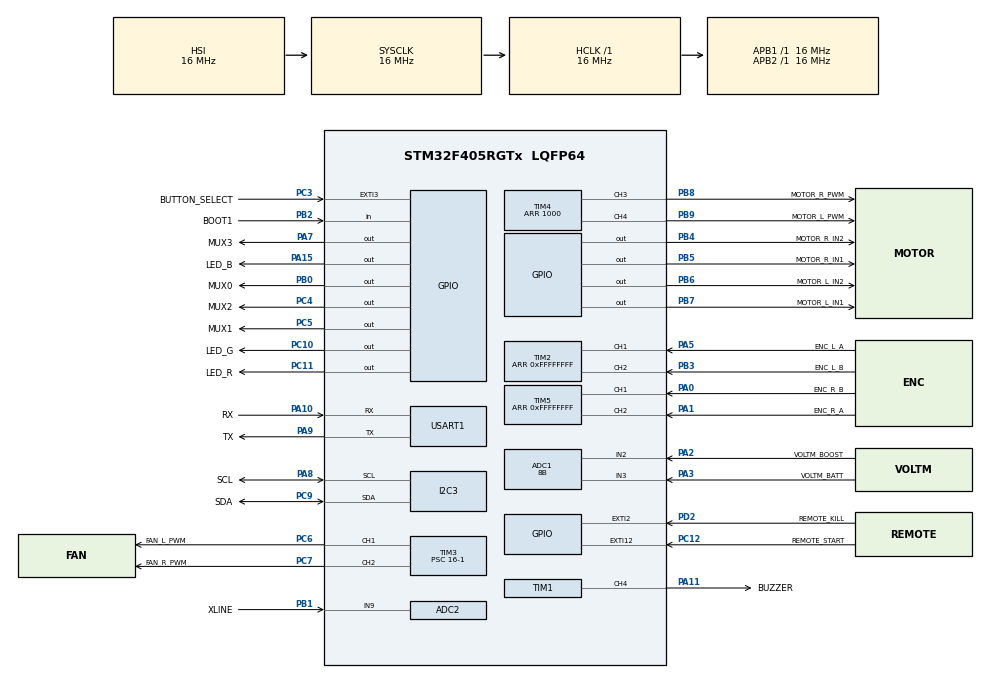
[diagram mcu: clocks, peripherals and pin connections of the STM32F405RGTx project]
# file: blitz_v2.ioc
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ADC1.Channel-0\#ChannelRegularConversion=ADC_CHANNEL_2
ADC1.Channel-1\#ChannelRegularConversion=ADC_CHANNEL_3
ADC1.ClockPrescaler=ADC_CLOCK_SYNC_PCLK_DIV8
ADC1.ContinuousConvMode=ENABLE
ADC1.DMAContinuousRequests=ENABLE
ADC1.NbrOfConversion=2
ADC1.NbrOfConversionFlag=1
ADC1.Rank-0\#ChannelRegularConversion=1
ADC1.Rank-1\#ChannelRegularConversion=2
ADC1.Resolution=ADC_RESOLUTION_8B
ADC1.SamplingTime-0\#ChannelRegularConversion=ADC_SAMPLETIME_112CYCLES
ADC1.SamplingTime-1\#ChannelRegularConversion=ADC_SAMPLETIME_112CYCLES
ADC1.master=1
ADC2.Channel-0\#ChannelRegularConversion=ADC_CHANNEL_9
ADC2.ClockPrescaler=ADC_CLOCK_SYNC_PCLK_DIV8
ADC2.NbrOfConversionFlag=1
ADC2.Rank-0\#ChannelRegularConversion=1
ADC2.Resolution=ADC_RESOLUTION_10B
ADC2.SamplingTime-0\#ChannelRegularConversion=ADC_SAMPLETIME_480CYCLES
ADC2.ScanConvMode=DISABLE
Dma.ADC1.0.Direction=DMA_PERIPH_TO_MEMORY
Dma.ADC1.0.FIFOMode=DMA_FIFOMODE_DISABLE
Dma.ADC1.0.Instance=DMA2_Stream0
Dma.ADC1.0.MemDataAlignment=DMA_MDATAALIGN_BYTE
Dma.ADC1.0.MemInc=DMA_MINC_ENABLE
Dma.ADC1.0.Mode=DMA_CIRCULAR
Dma.ADC1.0.PeriphDataAlignment=DMA_PDATAALIGN_BYTE
Dma.ADC1.0.PeriphInc=DMA_PINC_DISABLE
Dma.ADC1.0.Priority=DMA_PRIORITY_LOW
Dma.Request0=ADC1
I2C3.I2C_Mode=I2C_Fast
Mcu.Family=STM32F4
Mcu.Name=STM32F405RGTx
Mcu.Package=LQFP64
NVIC.DMA2_Stream0_IRQn=true\:0\:0\:false\:false\:true\:false\:true
NVIC.EXTI15_10_IRQn=true\:0\:0\:false\:false\:true\:true\:true
NVIC.EXTI2_IRQn=true\:0\:0\:false\:false\:true\:true\:true
NVIC.EXTI3_IRQn=true\:0\:0\:false\:false\:true\:true\:true
NVIC.PriorityGroup=NVIC_PRIORITYGROUP_4
NVIC.TIM8_TRG_COM_TIM14_IRQn=true\:0\:0\:false\:false\:true\:true\:true
PA0-WKUP.GPIO_Label=ENC_R_B
PA0-WKUP.Signal=S_TIM5_CH1
PA1.GPIO_Label=ENC_R_A
PA1.Signal=S_TIM5_CH2
PA10.GPIO_Label=RX
PA10.Mode=Asynchronous
PA10.Signal=USART1_RX
PA11.GPIO_Label=BUZZER
PA11.Signal=S_TIM1_CH4
PA13.GPIO_Label=SWDIO
PA13.Mode=Serial_Wire
PA13.Signal=SYS_JTMS-SWDIO
PA14.GPIO_Label=SWCLK
PA14.Mode=Serial_Wire
PA14.Signal=SYS_JTCK-SWCLK
PA15.GPIO_Label=LED_B
PA15.Signal=GPIO_Output
PA2.GPIO_Label=VOLTM_BOOST
PA2.Signal=ADCx_IN2
PA3.GPIO_Label=VOLTM_BATT
PA3.Signal=ADCx_IN3
PA5.GPIO_Label=ENC_L_A
PA5.Signal=S_TIM2_CH1_ETR
PA7.GPIO_Label=MUX3
PA7.Signal=GPIO_Output
PA8.GPIO_Label=SCL
PA8.Mode=I2C
PA8.Signal=I2C3_SCL
PA9.GPIO_Label=TX
PA9.Mode=Asynchronous
PA9.Signal=USART1_TX
PB0.GPIO_Label=MUX0
PB0.Signal=GPIO_Output
PB1.GPIO_Label=XLINE
PB1.Signal=ADCx_IN9
PB2.GPIO_Label=BOOT1
PB2.Signal=GPIO_Input
PB3.GPIO_Label=ENC_L_B
PB3.Signal=S_TIM2_CH2
PB4.GPIO_Label=MOTOR_R_IN2
PB4.Signal=GPIO_Output
PB5.GPIO_Label=MOTOR_R_IN1
PB5.Signal=GPIO_Output
PB6.GPIO_Label=MOTOR_L_IN2
PB6.Signal=GPIO_Output
PB7.GPIO_Label=MOTOR_L_IN1
PB7.Signal=GPIO_Output
PB8.GPIO_Label=MOTOR_R_PWM
PB8.Signal=S_TIM4_CH3
PB9.GPIO_Label=MOTOR_L_PWM
PB9.Signal=S_TIM4_CH4
PC10.GPIO_Label=LED_G
PC10.Signal=GPIO_Output
PC11.GPIO_Label=LED_R
PC11.Signal=GPIO_Output
PC12.GPIO_Label=REMOTE_START
PC12.GPIO_ModeDefaultEXTI=GPIO_MODE_IT_RISING
PC12.Signal=GPXTI12
PC3.GPIO_Label=BUTTON_SELECT
PC3.GPIO_ModeDefaultEXTI=GPIO_MODE_IT_FALLING
PC3.Signal=GPXTI3
PC4.GPIO_Label=MUX2
PC4.Signal=GPIO_Output
PC5.GPIO_Label=MUX1
PC5.Signal=GPIO_Output
PC6.GPIO_Label=FAN_L_PWM
PC6.Signal=S_TIM3_CH1
PC7.GPIO_Label=FAN_R_PWM
PC7.Signal=S_TIM3_CH2
PC9.GPIO_Label=SDA
PC9.Mode=I2C
PC9.Signal=I2C3_SDA
PD2.GPIO_Label=REMOTE_KILL
PD2.GPIO_ModeDefaultEXTI=GPIO_MODE_IT_FALLING
PD2.Signal=GPXTI2
ProjectManager.HeapSize=0x200
ProjectManager.StackSize=0x400
ProjectManager.TargetToolchain=STM32CubeIDE
RCC.AHBFreq_Value=16000000
RCC.APB1Freq_Value=16000000
RCC.APB2Freq_Value=16000000
RCC.CortexFreq_Value=16000000
RCC.HSE_VALUE=25000000
RCC.HSI_VALUE=16000000
RCC.LSE_VALUE=32768
RCC.SYSCLKFreq_VALUE=16000000
RCC.VCOOutputFreq_Value=192000000
SH.ADCx_IN2.0=ADC1_IN2,IN2
SH.ADCx_IN3.0=ADC1_IN3,IN3
SH.ADCx_IN9.0=ADC2_IN9,IN9
SH.S_TIM1_CH4.0=TIM1_CH4,PWM Generation4 CH4
SH.S_TIM2_CH1_ETR.0=TIM2_CH1,Encoder_Interface
SH.S_TIM2_CH2.0=TIM2_CH2,Encoder_Interface
SH.S_TIM3_CH1.0=TIM3_CH1,PWM Generation1 CH1
SH.S_TIM3_CH2.0=TIM3_CH2,PWM Generation2 CH2
SH.S_TIM4_CH3.0=TIM4_CH3,PWM Generation3 CH3
SH.S_TIM4_CH4.0=TIM4_CH4,PWM Generation4 CH4
SH.S_TIM5_CH1.0=TIM5_CH1,Encoder_Interface
SH.S_TIM5_CH2.0=TIM5_CH2,Encoder_Interface
TIM1.Channel-PWM\ Generation4\ CH4=TIM_CHANNEL_4
TIM1.Period=1000
TIM1.Prescaler=4-1
TIM14.Period=50
TIM14.Prescaler=16000
TIM2.EncoderMode=TIM_ENCODERMODE_TI12
TIM2.IC1Polarity=TIM_ICPOLARITY_RISING
TIM2.IC2Polarity=TIM_ICPOLARITY_FALLING
TIM2.Period=0xFFFFFFFF
TIM3.Channel-PWM\ Generation1\ CH1=TIM_CHANNEL_1
TIM3.Channel-PWM\ Generation2\ CH2=TIM_CHANNEL_2
TIM3.Period=20000
TIM3.Prescaler=16-1
TIM4.Channel-PWM\ Generation3\ CH3=TIM_CHANNEL_3
TIM4.Channel-PWM\ Generation4\ CH4=TIM_CHANNEL_4
TIM4.Period=1000
TIM5.IC2Polarity=TIM_ICPOLARITY_FALLING
TIM5.Period=0xFFFFFFFF
USART1.VirtualMode=VM_ASYNC
VP_TIM14_VS_ClockSourceINT.Mode=Enable_Timer
board=custom

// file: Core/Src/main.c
/* USER CODE BEGIN Header */
/**
  ******************************************************************************
  * @file           : main.c
  * @brief          : Main program body
  ******************************************************************************
  * @attention
  *
  * <h2><center>&copy; Copyright (c) 2020 STMicroelectronics.
  * All rights reserved.</center></h2>
  *
  * This software component is licensed by ST under BSD 3-Clause license,
  * the "License"; You may not use this file except in compliance with the
  * License. You may obtain a copy of the License at:
  *                        opensource.org/licenses/BSD-3-Clause
  *
  ******************************************************************************
  */
/* USER CODE END Header */

#include "main.h"

/* USER CODE BEGIN Includes */
#include <stdio.h>
#include <string.h>
//#include "eeprom.h"
#include <user/voltmeter.h>
#include "user/buzzer.h"
#include "user/oled.h"
#include "user/motor.h"
#include "user/fan.h"
#include "user/xline.h"
#include "user/control.h"

/* USER CODE END Includes */

ADC_HandleTypeDef hadc1;
ADC_HandleTypeDef hadc2;
DMA_HandleTypeDef hdma_adc1;

I2C_HandleTypeDef hi2c3;

TIM_HandleTypeDef htim1;
TIM_HandleTypeDef htim2;
TIM_HandleTypeDef htim3;
TIM_HandleTypeDef htim4;
TIM_HandleTypeDef htim5;
TIM_HandleTypeDef htim14;

UART_HandleTypeDef huart1;

// EEPROM memory
// The addresses that are assigned to a specific variable. It is predefined and cannot be changed.
/*uint16_t VirtAddVarTab[NB_OF_VAR] = {0X1110, 0x1111, 0x1112, 0x1113, 0x1114, 0x1115, 0x1116, 0x1117, 0x1118, 0x1119, 0x111A, 0x111B, 0x111C, 0x111D, 0x111E, 0x111F,
									 0x1120, 0x1121, 0x1122, 0x1123, 0x1124, 0x1125, 0x1126, 0x1127, 0x1128, 0x1129, 0x112A, 0x112B, 0x112C, 0x112D, 0x112E, 0x112F,
									 0X1130, 0x1131, 0x1132, 0x1133, 0x1134, 0x1135, 0x1136, 0x1137, 0x1138, 0x1139, 0x113A, 0x113B, 0x113C, 0x113D, 0x113E, 0x113F,
									 0x1140, 0x1141, 0x1142, 0x1143, 0x1144, 0x1145, 0x1146, 0x1147, 0x1148, 0x1149, 0x114A, 0x114B, 0x114C, 0x114D, 0x114E, 0x114F};
uint16_t VarDataTab[NB_OF_VAR] = {0, 0, 0, 0, 0, 0, 0, 0, 0, 0, 0, 0, 0, 0, 0, 0, 0, 0, 0, 0, 0, 0, 0, 0, 0, 0, 0, 0, 0, 0, 0, 0,
								  0, 0, 0, 0, 0, 0, 0, 0, 0, 0, 0, 0, 0, 0, 0, 0, 0, 0, 0, 0, 0, 0, 0, 0, 0, 0, 0, 0, 0, 0, 0, 0};
uint16_t VarValue = 0;
*/

void SystemClock_Config(void);
static void MX_GPIO_Init(void);
static void MX_DMA_Init(void);
static void MX_I2C3_Init(void);
static void MX_TIM1_Init(void);
static void MX_USART1_UART_Init(void);
static void MX_TIM4_Init(void);
static void MX_TIM3_Init(void);
static void MX_ADC1_Init(void);
static void MX_TIM2_Init(void);
static void MX_TIM5_Init(void);
static void MX_TIM14_Init(void);
static void MX_ADC2_Init(void);
/* USER CODE BEGIN PFP */
#ifdef __GNUC__
	#define PUTCHAR_PROTOTYPE int __io_putchar(int ch)
#else
	#define PUTCHAR_PROTOTYPE int fputc(int ch, FILE *f)
#endif
PUTCHAR_PROTOTYPE{
	HAL_UART_Transmit(&huart1, (uint8_t *) &ch, 1, 0xFFFF);
	return ch;
}

void tests_run(){
	HAL_GPIO_WritePin(LED_R_GPIO_Port, LED_R_Pin, GPIO_PIN_RESET);
	HAL_GPIO_WritePin(LED_G_GPIO_Port, LED_G_Pin, GPIO_PIN_RESET);
	HAL_GPIO_WritePin(LED_B_GPIO_Port, LED_B_Pin, GPIO_PIN_RESET);
	printf("\r\n========== RUN TESTS ==========\r\n");
	printf("\t- Buzzer\r\n");
	test_buzzer();
	HAL_Delay(2000);
	printf("\t- Motors\r\n");
	test_motors();
	HAL_Delay(2000);
	printf("\t- Fans\r\n");
	test_fan();
	HAL_Delay(2000);
}

/* USER CODE END PFP */

/* USER CODE BEGIN 0 */

// Test variables during development

/* USER CODE END 0 */

int main(void)
{

  /* MCU Configuration--------------------------------------------------------*/

  /* Reset of all peripherals, Initializes the Flash interface and the Systick. */
  HAL_Init();

  /* Configure the system clock */
  SystemClock_Config();

  /* Initialize all configured peripherals */
  MX_GPIO_Init();
  MX_DMA_Init();
  MX_I2C3_Init();
  MX_TIM1_Init();
  MX_USART1_UART_Init();
  MX_TIM4_Init();
  MX_TIM3_Init();
  MX_ADC1_Init();
  MX_TIM2_Init();
  MX_TIM5_Init();
  MX_TIM14_Init();
  MX_ADC2_Init();
  /* USER CODE BEGIN 2 */
  printf("========== Blitz V2 ==========\r\n");
  printf("Created by Oskar & Isak\r\n");

  printf("\r\n========== Initializing peripherals ==========\r\n");
  printf("\t- Buzzer\r\n");
  init_buzzer();
  //Startup beep
  HAL_GPIO_TogglePin(LED_R_GPIO_Port, LED_R_Pin);
	tone(523,200);
	HAL_GPIO_TogglePin(LED_R_GPIO_Port, LED_R_Pin);

	HAL_GPIO_TogglePin(LED_G_GPIO_Port, LED_G_Pin);
	tone(659,200);
	HAL_GPIO_TogglePin(LED_G_GPIO_Port, LED_G_Pin);

	HAL_GPIO_TogglePin(LED_B_GPIO_Port, LED_B_Pin);
	tone(784,200);
	HAL_GPIO_TogglePin(LED_B_GPIO_Port, LED_B_Pin);
	HAL_Delay(500);

  printf("\t- OLED\r\n");
  init_oled(); // Draws CASE LOGO for now
  //HAL_Delay(500);
  printf("\t- Motors\r\n");
  init_motors();
  //HAL_Delay(500);
  printf("\t- Fans\r\n");
  init_fans();
 // HAL_Delay(3000); //Wait for fans to beep
  printf("\t- Voltage meter\r\n");
  init_voltmeter();
  printf("\t- XLINE\r\n");
	init_xline();

  // Run all tests
  //tests_run();

  printf("\r\n========== Starting Blitz ==========\r\n");

  /* USER CODE END 2 */

  /* Infinite loop */
  while (1)
  {

    /* USER CODE BEGIN 3 */
  	oled_update();
  	HAL_GPIO_TogglePin(LED_B_GPIO_Port, LED_B_Pin);
  	HAL_Delay(10);

  	control_loop();
  }
  /* USER CODE END 3 */
}

void SystemClock_Config(void)
{
  RCC_OscInitTypeDef RCC_OscInitStruct = {0};
  RCC_ClkInitTypeDef RCC_ClkInitStruct = {0};

  /** Configure the main internal regulator output voltage
  */
  __HAL_RCC_PWR_CLK_ENABLE();
  __HAL_PWR_VOLTAGESCALING_CONFIG(PWR_REGULATOR_VOLTAGE_SCALE1);
  /** Initializes the CPU, AHB and APB busses clocks
  */
  RCC_OscInitStruct.OscillatorType = RCC_OSCILLATORTYPE_HSI;
  RCC_OscInitStruct.HSIState = RCC_HSI_ON;
  RCC_OscInitStruct.HSICalibrationValue = RCC_HSICALIBRATION_DEFAULT;
  RCC_OscInitStruct.PLL.PLLState = RCC_PLL_NONE;
  if (HAL_RCC_OscConfig(&RCC_OscInitStruct) != HAL_OK)
  {
    Error_Handler();
  }
  /** Initializes the CPU, AHB and APB busses clocks
  */
  RCC_ClkInitStruct.ClockType = RCC_CLOCKTYPE_HCLK|RCC_CLOCKTYPE_SYSCLK
                              |RCC_CLOCKTYPE_PCLK1|RCC_CLOCKTYPE_PCLK2;
  RCC_ClkInitStruct.SYSCLKSource = RCC_SYSCLKSOURCE_HSI;
  RCC_ClkInitStruct.AHBCLKDivider = RCC_SYSCLK_DIV1;
  RCC_ClkInitStruct.APB1CLKDivider = RCC_HCLK_DIV1;
  RCC_ClkInitStruct.APB2CLKDivider = RCC_HCLK_DIV1;

  if (HAL_RCC_ClockConfig(&RCC_ClkInitStruct, FLASH_LATENCY_0) != HAL_OK)
  {
    Error_Handler();
  }
}

static void MX_ADC1_Init(void)
{

  ADC_ChannelConfTypeDef sConfig = {0};

  /** Configure the global features of the ADC (Clock, Resolution, Data Alignment and number of conversion)
  */
  hadc1.Instance = ADC1;
  hadc1.Init.ClockPrescaler = ADC_CLOCK_SYNC_PCLK_DIV8;
  hadc1.Init.Resolution = ADC_RESOLUTION_8B;
  hadc1.Init.ScanConvMode = ENABLE;
  hadc1.Init.ContinuousConvMode = ENABLE;
  hadc1.Init.DiscontinuousConvMode = DISABLE;
  hadc1.Init.ExternalTrigConvEdge = ADC_EXTERNALTRIGCONVEDGE_NONE;
  hadc1.Init.ExternalTrigConv = ADC_SOFTWARE_START;
  hadc1.Init.DataAlign = ADC_DATAALIGN_RIGHT;
  hadc1.Init.NbrOfConversion = 2;
  hadc1.Init.DMAContinuousRequests = ENABLE;
  hadc1.Init.EOCSelection = ADC_EOC_SINGLE_CONV;
  if (HAL_ADC_Init(&hadc1) != HAL_OK)
  {
    Error_Handler();
  }
  /** Configure for the selected ADC regular channel its corresponding rank in the sequencer and its sample time.
  */
  sConfig.Channel = ADC_CHANNEL_2;
  sConfig.Rank = 1;
  sConfig.SamplingTime = ADC_SAMPLETIME_112CYCLES;
  if (HAL_ADC_ConfigChannel(&hadc1, &sConfig) != HAL_OK)
  {
    Error_Handler();
  }
  /** Configure for the selected ADC regular channel its corresponding rank in the sequencer and its sample time.
  */
  sConfig.Channel = ADC_CHANNEL_3;
  sConfig.Rank = 2;
  if (HAL_ADC_ConfigChannel(&hadc1, &sConfig) != HAL_OK)
  {
    Error_Handler();
  }

}

static void MX_ADC2_Init(void)
{

  ADC_ChannelConfTypeDef sConfig = {0};

  /** Configure the global features of the ADC (Clock, Resolution, Data Alignment and number of conversion)
  */
  hadc2.Instance = ADC2;
  hadc2.Init.ClockPrescaler = ADC_CLOCK_SYNC_PCLK_DIV8;
  hadc2.Init.Resolution = ADC_RESOLUTION_10B;
  hadc2.Init.ScanConvMode = DISABLE;
  hadc2.Init.ContinuousConvMode = DISABLE;
  hadc2.Init.DiscontinuousConvMode = DISABLE;
  hadc2.Init.ExternalTrigConvEdge = ADC_EXTERNALTRIGCONVEDGE_NONE;
  hadc2.Init.ExternalTrigConv = ADC_SOFTWARE_START;
  hadc2.Init.DataAlign = ADC_DATAALIGN_RIGHT;
  hadc2.Init.NbrOfConversion = 1;
  hadc2.Init.DMAContinuousRequests = DISABLE;
  hadc2.Init.EOCSelection = ADC_EOC_SINGLE_CONV;
  if (HAL_ADC_Init(&hadc2) != HAL_OK)
  {
    Error_Handler();
  }
  /** Configure for the selected ADC regular channel its corresponding rank in the sequencer and its sample time.
  */
  sConfig.Channel = ADC_CHANNEL_9;
  sConfig.Rank = 1;
  sConfig.SamplingTime = ADC_SAMPLETIME_480CYCLES;
  if (HAL_ADC_ConfigChannel(&hadc2, &sConfig) != HAL_OK)
  {
    Error_Handler();
  }

}

static void MX_I2C3_Init(void)
{

  hi2c3.Instance = I2C3;
  hi2c3.Init.ClockSpeed = 400000;
  hi2c3.Init.DutyCycle = I2C_DUTYCYCLE_2;
  hi2c3.Init.OwnAddress1 = 0;
  hi2c3.Init.AddressingMode = I2C_ADDRESSINGMODE_7BIT;
  hi2c3.Init.DualAddressMode = I2C_DUALADDRESS_DISABLE;
  hi2c3.Init.OwnAddress2 = 0;
  hi2c3.Init.GeneralCallMode = I2C_GENERALCALL_DISABLE;
  hi2c3.Init.NoStretchMode = I2C_NOSTRETCH_DISABLE;
  if (HAL_I2C_Init(&hi2c3) != HAL_OK)
  {
    Error_Handler();
  }

}

static void MX_TIM1_Init(void)
{

  TIM_MasterConfigTypeDef sMasterConfig = {0};
  TIM_OC_InitTypeDef sConfigOC = {0};
  TIM_BreakDeadTimeConfigTypeDef sBreakDeadTimeConfig = {0};

  htim1.Instance = TIM1;
  htim1.Init.Prescaler = 4-1;
  htim1.Init.CounterMode = TIM_COUNTERMODE_UP;
  htim1.Init.Period = 1000;
  htim1.Init.ClockDivision = TIM_CLOCKDIVISION_DIV1;
  htim1.Init.RepetitionCounter = 0;
  htim1.Init.AutoReloadPreload = TIM_AUTORELOAD_PRELOAD_DISABLE;
  if (HAL_TIM_PWM_Init(&htim1) != HAL_OK)
  {
    Error_Handler();
  }
  sMasterConfig.MasterOutputTrigger = TIM_TRGO_RESET;
  sMasterConfig.MasterSlaveMode = TIM_MASTERSLAVEMODE_DISABLE;
  if (HAL_TIMEx_MasterConfigSynchronization(&htim1, &sMasterConfig) != HAL_OK)
  {
    Error_Handler();
  }
  sConfigOC.OCMode = TIM_OCMODE_PWM1;
  sConfigOC.Pulse = 0;
  sConfigOC.OCPolarity = TIM_OCPOLARITY_HIGH;
  sConfigOC.OCFastMode = TIM_OCFAST_DISABLE;
  sConfigOC.OCIdleState = TIM_OCIDLESTATE_RESET;
  sConfigOC.OCNIdleState = TIM_OCNIDLESTATE_RESET;
  if (HAL_TIM_PWM_ConfigChannel(&htim1, &sConfigOC, TIM_CHANNEL_4) != HAL_OK)
  {
    Error_Handler();
  }
  sBreakDeadTimeConfig.OffStateRunMode = TIM_OSSR_DISABLE;
  sBreakDeadTimeConfig.OffStateIDLEMode = TIM_OSSI_DISABLE;
  sBreakDeadTimeConfig.LockLevel = TIM_LOCKLEVEL_OFF;
  sBreakDeadTimeConfig.DeadTime = 0;
  sBreakDeadTimeConfig.BreakState = TIM_BREAK_DISABLE;
  sBreakDeadTimeConfig.BreakPolarity = TIM_BREAKPOLARITY_HIGH;
  sBreakDeadTimeConfig.AutomaticOutput = TIM_AUTOMATICOUTPUT_DISABLE;
  if (HAL_TIMEx_ConfigBreakDeadTime(&htim1, &sBreakDeadTimeConfig) != HAL_OK)
  {
    Error_Handler();
  }
  HAL_TIM_MspPostInit(&htim1);

}

static void MX_TIM2_Init(void)
{

  TIM_Encoder_InitTypeDef sConfig = {0};
  TIM_MasterConfigTypeDef sMasterConfig = {0};

  htim2.Instance = TIM2;
  htim2.Init.Prescaler = 0;
  htim2.Init.CounterMode = TIM_COUNTERMODE_UP;
  htim2.Init.Period = 0xFFFFFFFF;
  htim2.Init.ClockDivision = TIM_CLOCKDIVISION_DIV1;
  htim2.Init.AutoReloadPreload = TIM_AUTORELOAD_PRELOAD_DISABLE;
  sConfig.EncoderMode = TIM_ENCODERMODE_TI12;
  sConfig.IC1Polarity = TIM_ICPOLARITY_RISING;
  sConfig.IC1Selection = TIM_ICSELECTION_DIRECTTI;
  sConfig.IC1Prescaler = TIM_ICPSC_DIV1;
  sConfig.IC1Filter = 0;
  sConfig.IC2Polarity = TIM_ICPOLARITY_FALLING;
  sConfig.IC2Selection = TIM_ICSELECTION_DIRECTTI;
  sConfig.IC2Prescaler = TIM_ICPSC_DIV1;
  sConfig.IC2Filter = 0;
  if (HAL_TIM_Encoder_Init(&htim2, &sConfig) != HAL_OK)
  {
    Error_Handler();
  }
  sMasterConfig.MasterOutputTrigger = TIM_TRGO_RESET;
  sMasterConfig.MasterSlaveMode = TIM_MASTERSLAVEMODE_DISABLE;
  if (HAL_TIMEx_MasterConfigSynchronization(&htim2, &sMasterConfig) != HAL_OK)
  {
    Error_Handler();
  }

}

static void MX_TIM3_Init(void)
{

  TIM_MasterConfigTypeDef sMasterConfig = {0};
  TIM_OC_InitTypeDef sConfigOC = {0};

  htim3.Instance = TIM3;
  htim3.Init.Prescaler = 16-1;
  htim3.Init.CounterMode = TIM_COUNTERMODE_UP;
  htim3.Init.Period = 20000;
  htim3.Init.ClockDivision = TIM_CLOCKDIVISION_DIV1;
  htim3.Init.AutoReloadPreload = TIM_AUTORELOAD_PRELOAD_DISABLE;
  if (HAL_TIM_PWM_Init(&htim3) != HAL_OK)
  {
    Error_Handler();
  }
  sMasterConfig.MasterOutputTrigger = TIM_TRGO_RESET;
  sMasterConfig.MasterSlaveMode = TIM_MASTERSLAVEMODE_DISABLE;
  if (HAL_TIMEx_MasterConfigSynchronization(&htim3, &sMasterConfig) != HAL_OK)
  {
    Error_Handler();
  }
  sConfigOC.OCMode = TIM_OCMODE_PWM1;
  sConfigOC.Pulse = 0;
  sConfigOC.OCPolarity = TIM_OCPOLARITY_HIGH;
  sConfigOC.OCFastMode = TIM_OCFAST_DISABLE;
  if (HAL_TIM_PWM_ConfigChannel(&htim3, &sConfigOC, TIM_CHANNEL_1) != HAL_OK)
  {
    Error_Handler();
  }
  if (HAL_TIM_PWM_ConfigChannel(&htim3, &sConfigOC, TIM_CHANNEL_2) != HAL_OK)
  {
    Error_Handler();
  }
  HAL_TIM_MspPostInit(&htim3);

}

static void MX_TIM4_Init(void)
{

  TIM_MasterConfigTypeDef sMasterConfig = {0};
  TIM_OC_InitTypeDef sConfigOC = {0};

  htim4.Instance = TIM4;
  htim4.Init.Prescaler = 0;
  htim4.Init.CounterMode = TIM_COUNTERMODE_UP;
  htim4.Init.Period = 1000;
  htim4.Init.ClockDivision = TIM_CLOCKDIVISION_DIV1;
  htim4.Init.AutoReloadPreload = TIM_AUTORELOAD_PRELOAD_DISABLE;
  if (HAL_TIM_PWM_Init(&htim4) != HAL_OK)
  {
    Error_Handler();
  }
  sMasterConfig.MasterOutputTrigger = TIM_TRGO_RESET;
  sMasterConfig.MasterSlaveMode = TIM_MASTERSLAVEMODE_DISABLE;
  if (HAL_TIMEx_MasterConfigSynchronization(&htim4, &sMasterConfig) != HAL_OK)
  {
    Error_Handler();
  }
  sConfigOC.OCMode = TIM_OCMODE_PWM1;
  sConfigOC.Pulse = 0;
  sConfigOC.OCPolarity = TIM_OCPOLARITY_HIGH;
  sConfigOC.OCFastMode = TIM_OCFAST_DISABLE;
  if (HAL_TIM_PWM_ConfigChannel(&htim4, &sConfigOC, TIM_CHANNEL_3) != HAL_OK)
  {
    Error_Handler();
  }
  if (HAL_TIM_PWM_ConfigChannel(&htim4, &sConfigOC, TIM_CHANNEL_4) != HAL_OK)
  {
    Error_Handler();
  }
  HAL_TIM_MspPostInit(&htim4);

}

static void MX_TIM5_Init(void)
{

  TIM_Encoder_InitTypeDef sConfig = {0};
  TIM_MasterConfigTypeDef sMasterConfig = {0};

  htim5.Instance = TIM5;
  htim5.Init.Prescaler = 0;
  htim5.Init.CounterMode = TIM_COUNTERMODE_UP;
  htim5.Init.Period = 0xFFFFFFFF;
  htim5.Init.ClockDivision = TIM_CLOCKDIVISION_DIV1;
  htim5.Init.AutoReloadPreload = TIM_AUTORELOAD_PRELOAD_DISABLE;
  sConfig.EncoderMode = TIM_ENCODERMODE_TI1;
  sConfig.IC1Polarity = TIM_ICPOLARITY_RISING;
  sConfig.IC1Selection = TIM_ICSELECTION_DIRECTTI;
  sConfig.IC1Prescaler = TIM_ICPSC_DIV1;
  sConfig.IC1Filter = 0;
  sConfig.IC2Polarity = TIM_ICPOLARITY_FALLING;
  sConfig.IC2Selection = TIM_ICSELECTION_DIRECTTI;
  sConfig.IC2Prescaler = TIM_ICPSC_DIV1;
  sConfig.IC2Filter = 0;
  if (HAL_TIM_Encoder_Init(&htim5, &sConfig) != HAL_OK)
  {
    Error_Handler();
  }
  sMasterConfig.MasterOutputTrigger = TIM_TRGO_RESET;
  sMasterConfig.MasterSlaveMode = TIM_MASTERSLAVEMODE_DISABLE;
  if (HAL_TIMEx_MasterConfigSynchronization(&htim5, &sMasterConfig) != HAL_OK)
  {
    Error_Handler();
  }

}

static void MX_TIM14_Init(void)
{

  htim14.Instance = TIM14;
  htim14.Init.Prescaler = 16000;
  htim14.Init.CounterMode = TIM_COUNTERMODE_UP;
  htim14.Init.Period = 50;
  htim14.Init.ClockDivision = TIM_CLOCKDIVISION_DIV1;
  htim14.Init.AutoReloadPreload = TIM_AUTORELOAD_PRELOAD_DISABLE;
  if (HAL_TIM_Base_Init(&htim14) != HAL_OK)
  {
    Error_Handler();
  }

}

static void MX_USART1_UART_Init(void)
{

  huart1.Instance = USART1;
  huart1.Init.BaudRate = 115200;
  huart1.Init.WordLength = UART_WORDLENGTH_8B;
  huart1.Init.StopBits = UART_STOPBITS_1;
  huart1.Init.Parity = UART_PARITY_NONE;
  huart1.Init.Mode = UART_MODE_TX_RX;
  huart1.Init.HwFlowCtl = UART_HWCONTROL_NONE;
  huart1.Init.OverSampling = UART_OVERSAMPLING_16;
  if (HAL_UART_Init(&huart1) != HAL_OK)
  {
    Error_Handler();
  }

}

static void MX_DMA_Init(void)
{

  /* DMA controller clock enable */
  __HAL_RCC_DMA2_CLK_ENABLE();

  /* DMA interrupt init */
  /* DMA2_Stream0_IRQn interrupt configuration */
  HAL_NVIC_SetPriority(DMA2_Stream0_IRQn, 0, 0);
  HAL_NVIC_EnableIRQ(DMA2_Stream0_IRQn);

}

static void MX_GPIO_Init(void)
{
  GPIO_InitTypeDef GPIO_InitStruct = {0};

  /* GPIO Ports Clock Enable */
  __HAL_RCC_GPIOC_CLK_ENABLE();
  __HAL_RCC_GPIOA_CLK_ENABLE();
  __HAL_RCC_GPIOB_CLK_ENABLE();
  __HAL_RCC_GPIOD_CLK_ENABLE();

  /*Configure GPIO pin Output Level */
  HAL_GPIO_WritePin(GPIOA, MUX3_Pin|LED_B_Pin, GPIO_PIN_RESET);

  /*Configure GPIO pin Output Level */
  HAL_GPIO_WritePin(GPIOC, MUX2_Pin|MUX1_Pin|LED_G_Pin|LED_R_Pin, GPIO_PIN_RESET);

  /*Configure GPIO pin Output Level */
  HAL_GPIO_WritePin(GPIOB, MUX0_Pin|MOTOR_R_IN2_Pin|MOTOR_R_IN1_Pin|MOTOR_L_IN2_Pin
                          |MOTOR_L_IN1_Pin, GPIO_PIN_RESET);

  /*Configure GPIO pin : BUTTON_SELECT_Pin */
  GPIO_InitStruct.Pin = BUTTON_SELECT_Pin;
  GPIO_InitStruct.Mode = GPIO_MODE_IT_FALLING;
  GPIO_InitStruct.Pull = GPIO_NOPULL;
  HAL_GPIO_Init(BUTTON_SELECT_GPIO_Port, &GPIO_InitStruct);

  /*Configure GPIO pins : MUX3_Pin LED_B_Pin */
  GPIO_InitStruct.Pin = MUX3_Pin|LED_B_Pin;
  GPIO_InitStruct.Mode = GPIO_MODE_OUTPUT_PP;
  GPIO_InitStruct.Pull = GPIO_NOPULL;
  GPIO_InitStruct.Speed = GPIO_SPEED_FREQ_LOW;
  HAL_GPIO_Init(GPIOA, &GPIO_InitStruct);

  /*Configure GPIO pins : MUX2_Pin MUX1_Pin LED_G_Pin LED_R_Pin */
  GPIO_InitStruct.Pin = MUX2_Pin|MUX1_Pin|LED_G_Pin|LED_R_Pin;
  GPIO_InitStruct.Mode = GPIO_MODE_OUTPUT_PP;
  GPIO_InitStruct.Pull = GPIO_NOPULL;
  GPIO_InitStruct.Speed = GPIO_SPEED_FREQ_LOW;
  HAL_GPIO_Init(GPIOC, &GPIO_InitStruct);

  /*Configure GPIO pins : MUX0_Pin MOTOR_R_IN2_Pin MOTOR_R_IN1_Pin MOTOR_L_IN2_Pin
                           MOTOR_L_IN1_Pin */
  GPIO_InitStruct.Pin = MUX0_Pin|MOTOR_R_IN2_Pin|MOTOR_R_IN1_Pin|MOTOR_L_IN2_Pin
                          |MOTOR_L_IN1_Pin;
  GPIO_InitStruct.Mode = GPIO_MODE_OUTPUT_PP;
  GPIO_InitStruct.Pull = GPIO_NOPULL;
  GPIO_InitStruct.Speed = GPIO_SPEED_FREQ_LOW;
  HAL_GPIO_Init(GPIOB, &GPIO_InitStruct);

  /*Configure GPIO pin : BOOT1_Pin */
  GPIO_InitStruct.Pin = BOOT1_Pin;
  GPIO_InitStruct.Mode = GPIO_MODE_INPUT;
  GPIO_InitStruct.Pull = GPIO_NOPULL;
  HAL_GPIO_Init(BOOT1_GPIO_Port, &GPIO_InitStruct);

  /*Configure GPIO pin : REMOTE_START_Pin */
  GPIO_InitStruct.Pin = REMOTE_START_Pin;
  GPIO_InitStruct.Mode = GPIO_MODE_IT_RISING;
  GPIO_InitStruct.Pull = GPIO_NOPULL;
  HAL_GPIO_Init(REMOTE_START_GPIO_Port, &GPIO_InitStruct);

  /*Configure GPIO pin : REMOTE_KILL_Pin */
  GPIO_InitStruct.Pin = REMOTE_KILL_Pin;
  GPIO_InitStruct.Mode = GPIO_MODE_IT_FALLING;
  GPIO_InitStruct.Pull = GPIO_NOPULL;
  HAL_GPIO_Init(REMOTE_KILL_GPIO_Port, &GPIO_InitStruct);

  /* EXTI interrupt init*/
  HAL_NVIC_SetPriority(EXTI2_IRQn, 0, 0);
  HAL_NVIC_EnableIRQ(EXTI2_IRQn);

  HAL_NVIC_SetPriority(EXTI3_IRQn, 0, 0);
  HAL_NVIC_EnableIRQ(EXTI3_IRQn);

  HAL_NVIC_SetPriority(EXTI15_10_IRQn, 0, 0);
  HAL_NVIC_EnableIRQ(EXTI15_10_IRQn);

}

void Error_Handler(void)
{
}

/************************ (C) COPYRIGHT STMicroelectronics *****END OF FILE****/
